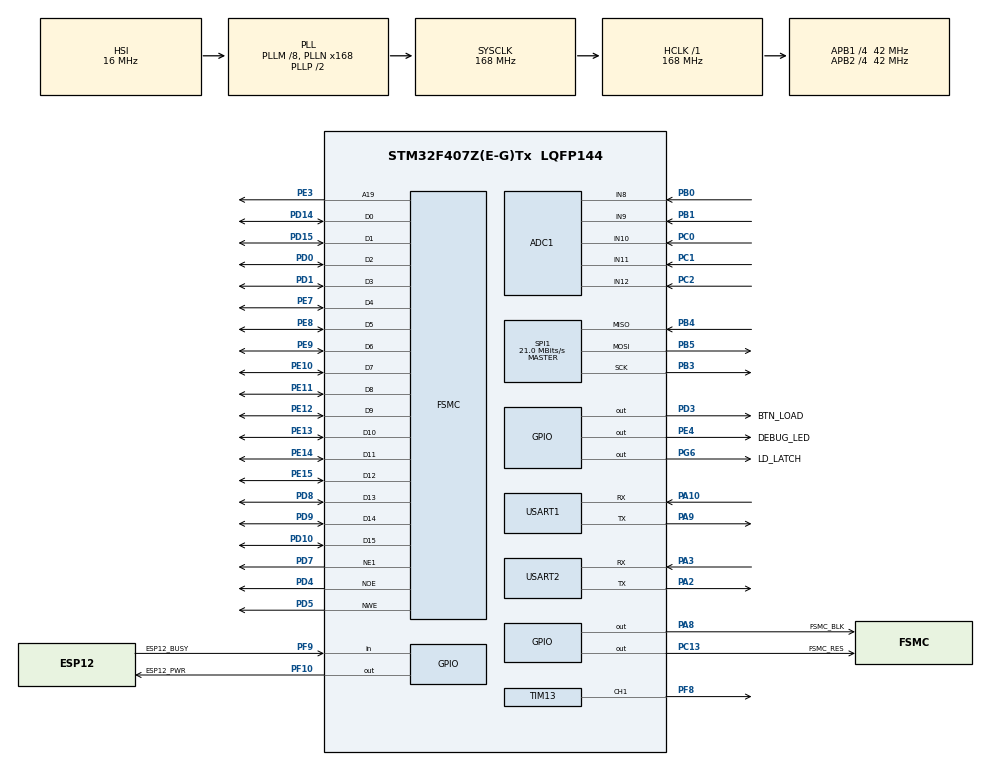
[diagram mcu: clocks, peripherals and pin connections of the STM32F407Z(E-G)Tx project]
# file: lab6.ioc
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ADC1.Channel-0\#ChannelRegularConversion=ADC_CHANNEL_8
ADC1.Channel-1\#ChannelRegularConversion=ADC_CHANNEL_9
ADC1.Channel-2\#ChannelRegularConversion=ADC_CHANNEL_10
ADC1.Channel-3\#ChannelRegularConversion=ADC_CHANNEL_11
ADC1.Channel-4\#ChannelRegularConversion=ADC_CHANNEL_12
ADC1.NbrOfConversion=5
ADC1.NbrOfConversionFlag=1
ADC1.Rank-0\#ChannelRegularConversion=1
ADC1.Rank-1\#ChannelRegularConversion=2
ADC1.Rank-2\#ChannelRegularConversion=3
ADC1.Rank-3\#ChannelRegularConversion=4
ADC1.Rank-4\#ChannelRegularConversion=5
ADC1.SamplingTime-0\#ChannelRegularConversion=ADC_SAMPLETIME_3CYCLES
ADC1.SamplingTime-1\#ChannelRegularConversion=ADC_SAMPLETIME_3CYCLES
ADC1.SamplingTime-2\#ChannelRegularConversion=ADC_SAMPLETIME_3CYCLES
ADC1.SamplingTime-3\#ChannelRegularConversion=ADC_SAMPLETIME_3CYCLES
ADC1.SamplingTime-4\#ChannelRegularConversion=ADC_SAMPLETIME_3CYCLES
ADC1.ScanConvMode=ENABLE
ADC1.master=1
Dma.ADC1.0.Direction=DMA_PERIPH_TO_MEMORY
Dma.ADC1.0.FIFOMode=DMA_FIFOMODE_DISABLE
Dma.ADC1.0.Instance=DMA2_Stream0
Dma.ADC1.0.MemDataAlignment=DMA_MDATAALIGN_HALFWORD
Dma.ADC1.0.MemInc=DMA_MINC_ENABLE
Dma.ADC1.0.Mode=DMA_CIRCULAR
Dma.ADC1.0.PeriphDataAlignment=DMA_PDATAALIGN_HALFWORD
Dma.ADC1.0.PeriphInc=DMA_PINC_DISABLE
Dma.ADC1.0.Priority=DMA_PRIORITY_LOW
Dma.Request0=ADC1
FSMC.AddressSetupTime1=0xf
FSMC.BusTurnAroundDuration1=0
FSMC.DataSetupTime1=60
FSMC.ExtendedAddressSetupTime1=8
FSMC.ExtendedBusTurnAroundDuration1=0
FSMC.ExtendedDataSetupTime1=9
FSMC.ExtendedMode1=FSMC_EXTENDED_MODE_ENABLE
Mcu.Family=STM32F4
Mcu.Name=STM32F407Z(E-G)Tx
Mcu.Package=LQFP144
NVIC.DMA2_Stream0_IRQn=true\:0\:0\:false\:false\:true\:false\:true
NVIC.PriorityGroup=NVIC_PRIORITYGROUP_4
NVIC.TIM2_IRQn=true\:0\:0\:false\:false\:true\:true\:true
NVIC.USART2_IRQn=true\:0\:0\:false\:false\:true\:true\:true
PA10.Mode=Asynchronous
PA10.Signal=USART1_RX
PA13.Mode=Serial_Wire
PA13.Signal=SYS_JTMS-SWDIO
PA14.Mode=Serial_Wire
PA14.Signal=SYS_JTCK-SWCLK
PA2.Mode=Asynchronous
PA2.Signal=USART2_TX
PA3.Mode=Asynchronous
PA3.Signal=USART2_RX
PA8.GPIO_Label=FSMC_BLK
PA8.Signal=GPIO_Output
PA9.Mode=Asynchronous
PA9.Signal=USART1_TX
PB0.Signal=ADCx_IN8
PB1.Signal=ADCx_IN9
PB3.Mode=Full_Duplex_Master
PB3.Signal=SPI1_SCK
PB4.Mode=Full_Duplex_Master
PB4.Signal=SPI1_MISO
PB5.Mode=Full_Duplex_Master
PB5.Signal=SPI1_MOSI
PC0.Signal=ADCx_IN10
PC1.Signal=ADCx_IN11
PC13-ANTI_TAMP.GPIO_Label=FSMC_RES
PC13-ANTI_TAMP.Signal=GPIO_Output
PC2.Signal=ADCx_IN12
PD0.Signal=FSMC_D2_DA2
PD1.Signal=FSMC_D3_DA3
PD10.Signal=FSMC_D15_DA15
PD14.Signal=FSMC_D0_DA0
PD15.Signal=FSMC_D1_DA1
PD3.GPIO_Label=BTN_LOAD
PD3.Signal=GPIO_Output
PD4.Signal=FSMC_NOE
PD5.Signal=FSMC_NWE
PD7.Mode=NorPsramChipSelect1_1
PD7.Signal=FSMC_NE1
PD8.Signal=FSMC_D13_DA13
PD9.Signal=FSMC_D14_DA14
PE10.Signal=FSMC_D7_DA7
PE11.Signal=FSMC_D8_DA8
PE12.Signal=FSMC_D9_DA9
PE13.Signal=FSMC_D10_DA10
PE14.Signal=FSMC_D11_DA11
PE15.Signal=FSMC_D12_DA12
PE3.Signal=FSMC_A19
PE4.GPIO_Label=DEBUG_LED
PE4.Signal=GPIO_Output
PE7.Signal=FSMC_D4_DA4
PE8.Signal=FSMC_D5_DA5
PE9.Signal=FSMC_D6_DA6
PF10.GPIO_Label=ESP12_PWR
PF10.Signal=GPIO_Output
PF8.Signal=S_TIM13_CH1
PF9.GPIO_Label=ESP12_BUSY
PF9.Signal=GPIO_Input
PG6.GPIO_Label=LD_LATCH
PG6.Signal=GPIO_Output
PH0-OSC_IN.Mode=HSE-External-Oscillator
PH0-OSC_IN.Signal=RCC_OSC_IN
PH1-OSC_OUT.Mode=HSE-External-Oscillator
PH1-OSC_OUT.Signal=RCC_OSC_OUT
ProjectManager.HeapSize=0x200
ProjectManager.StackSize=0x400
ProjectManager.TargetToolchain=STM32CubeIDE
RCC.48MHZClocksFreq_Value=84000000
RCC.AHBFreq_Value=168000000
RCC.APB1CLKDivider=RCC_HCLK_DIV4
RCC.APB1Freq_Value=42000000
RCC.APB1TimFreq_Value=84000000
RCC.APB2CLKDivider=RCC_HCLK_DIV4
RCC.APB2Freq_Value=42000000
RCC.APB2TimFreq_Value=84000000
RCC.CortexFreq_Value=168000000
RCC.HCLKFreq_Value=168000000
RCC.HSE_VALUE=8000000
RCC.HSI_VALUE=16000000
RCC.LSE_VALUE=32768
RCC.PLLM=8
RCC.PLLN=168
RCC.SYSCLKFreq_VALUE=168000000
RCC.SYSCLKSource=RCC_SYSCLKSOURCE_PLLCLK
RCC.VCOOutputFreq_Value=336000000
SH.ADCx_IN10.0=ADC1_IN10,IN10
SH.ADCx_IN11.0=ADC1_IN11,IN11
SH.ADCx_IN12.0=ADC1_IN12,IN12
SH.ADCx_IN8.0=ADC1_IN8,IN8
SH.ADCx_IN9.0=ADC1_IN9,IN9
SH.FSMC_A19.0=FSMC_A19,A19_1
SH.FSMC_D0_DA0.0=FSMC_D0,16b-d1
SH.FSMC_D10_DA10.0=FSMC_D10,16b-d1
SH.FSMC_D11_DA11.0=FSMC_D11,16b-d1
SH.FSMC_D12_DA12.0=FSMC_D12,16b-d1
SH.FSMC_D13_DA13.0=FSMC_D13,16b-d1
SH.FSMC_D14_DA14.0=FSMC_D14,16b-d1
SH.FSMC_D15_DA15.0=FSMC_D15,16b-d1
SH.FSMC_D1_DA1.0=FSMC_D1,16b-d1
SH.FSMC_D2_DA2.0=FSMC_D2,16b-d1
SH.FSMC_D3_DA3.0=FSMC_D3,16b-d1
SH.FSMC_D4_DA4.0=FSMC_D4,16b-d1
SH.FSMC_D5_DA5.0=FSMC_D5,16b-d1
SH.FSMC_D6_DA6.0=FSMC_D6,16b-d1
SH.FSMC_D7_DA7.0=FSMC_D7,16b-d1
SH.FSMC_D8_DA8.0=FSMC_D8,16b-d1
SH.FSMC_D9_DA9.0=FSMC_D9,16b-d1
SH.FSMC_NOE.0=FSMC_NOE,Lcd1
SH.FSMC_NWE.0=FSMC_NWE,Lcd1
SH.S_TIM13_CH1.0=TIM13_CH1,PWM Generation1 CH1
SPI1.CalculateBaudRate=21.0 MBits/s
SPI1.Direction=SPI_DIRECTION_2LINES
SPI1.Mode=SPI_MODE_MASTER
SPI1.VirtualType=VM_MASTER
TIM13.Channel=TIM_CHANNEL_1
TIM13.Period=100-1
TIM13.Prescaler=840-1
TIM2.Period=100-1
TIM2.Prescaler=840-1
USART1.VirtualMode=VM_ASYNC
USART2.VirtualMode=VM_ASYNC
VP_TIM13_VS_ClockSourceINT.Mode=Enable_Timer
VP_TIM2_VS_ClockSourceINT.Mode=Internal
board=custom

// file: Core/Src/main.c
/* USER CODE BEGIN Header */
/**
  ******************************************************************************
  * @file           : main.c
  * @brief          : Main program body
  ******************************************************************************
  * @attention
  *
  * <h2><center>&copy; Copyright (c) 2024 STMicroelectronics.
  * All rights reserved.</center></h2>
  *
  * This software component is licensed by ST under BSD 3-Clause license,
  * the "License"; You may not use this file except in compliance with the
  * License. You may obtain a copy of the License at:
  *                        opensource.org/licenses/BSD-3-Clause
  *
  ******************************************************************************
  */
/* USER CODE END Header */
#include "main.h"

/* USER CODE BEGIN Includes */
#include "sensor.h"
#include "software_timer.h"
#include "uart.h"
#include "buzzer.h"
#include "lcd.h"
#include "led_7seg.h"
/* USER CODE END Includes */

ADC_HandleTypeDef hadc1;
DMA_HandleTypeDef hdma_adc1;

SPI_HandleTypeDef hspi1;

TIM_HandleTypeDef htim2;
TIM_HandleTypeDef htim13;

UART_HandleTypeDef huart1;
UART_HandleTypeDef huart2;

SRAM_HandleTypeDef hsram1;

void SystemClock_Config(void);
static void MX_GPIO_Init(void);
static void MX_DMA_Init(void);
static void MX_ADC1_Init(void);
static void MX_TIM13_Init(void);
static void MX_SPI1_Init(void);
static void MX_TIM2_Init(void);
static void MX_USART1_UART_Init(void);
static void MX_FSMC_Init(void);
static void MX_USART2_UART_Init(void);

int main(void)
{

  /* MCU Configuration--------------------------------------------------------*/

  /* Reset of all peripherals, Initializes the Flash interface and the Systick. */
  HAL_Init();

  /* Configure the system clock */
  SystemClock_Config();

  /* Initialize all configured peripherals */
  MX_GPIO_Init();
  MX_DMA_Init();
  MX_ADC1_Init();
  MX_TIM13_Init();
  MX_SPI1_Init();
  MX_TIM2_Init();
  MX_USART1_UART_Init();
  MX_FSMC_Init();
  MX_USART2_UART_Init();
  /* USER CODE BEGIN 2 */
  sensor_init();
  timer_init();
  uart_init_rs232();
  buzzer_init();
  lcd_init();
  led7_init();
  uart_init_uart2();

  set_timer_display_lcd(1);
  set_timer_one_second(3);
  set_timer_read_adc(5);
  set_timer_scan_led_7seg(7);
  set_timer_warning_humidity(9);

  lcd_Clear(BLACK);
  /* USER CODE END 2 */

  /* Infinite loop */
  while (1)
  {

    /* USER CODE BEGIN 3 */
	  if(timer_display_lcd_flag)
	  {
		  set_timer_display_lcd(50); /* 25 ms */
		  timer_display_lcd_callback();
	  }

	  if(timer_one_second_flag)
	  {
		  set_timer_one_second(1000); /* 1000 ms */
		  timer_one_second_callback();
	  }

	  if(timer_read_adc_flag)
	  {
		  set_timer_read_adc(200); /* 200 ms */
		  timer_read_adc_callback();
	  }

	  if(timer_scan_led_7seg_flag)
	  {
		  set_timer_scan_led_7seg(5); /* 10 ms */
		  timer_scan_led_7seg_callback();
	  }

	  if(timer_warning_humidity_flag)
	  {
		  set_timer_warning_humidity(1000); /* 1000 ms */
		  timer_warning_humidity_callback();
	  }
  }
  /* USER CODE END 3 */
}

void SystemClock_Config(void)
{
  RCC_OscInitTypeDef RCC_OscInitStruct = {0};
  RCC_ClkInitTypeDef RCC_ClkInitStruct = {0};

  /** Configure the main internal regulator output voltage
  */
  __HAL_RCC_PWR_CLK_ENABLE();
  __HAL_PWR_VOLTAGESCALING_CONFIG(PWR_REGULATOR_VOLTAGE_SCALE1);
  /** Initializes the RCC Oscillators according to the specified parameters
  * in the RCC_OscInitTypeDef structure.
  */
  RCC_OscInitStruct.OscillatorType = RCC_OSCILLATORTYPE_HSI;
  RCC_OscInitStruct.HSIState = RCC_HSI_ON;
  RCC_OscInitStruct.HSICalibrationValue = RCC_HSICALIBRATION_DEFAULT;
  RCC_OscInitStruct.PLL.PLLState = RCC_PLL_ON;
  RCC_OscInitStruct.PLL.PLLSource = RCC_PLLSOURCE_HSI;
  RCC_OscInitStruct.PLL.PLLM = 8;
  RCC_OscInitStruct.PLL.PLLN = 168;
  RCC_OscInitStruct.PLL.PLLP = RCC_PLLP_DIV2;
  RCC_OscInitStruct.PLL.PLLQ = 4;
  if (HAL_RCC_OscConfig(&RCC_OscInitStruct) != HAL_OK)
  {
    Error_Handler();
  }
  /** Initializes the CPU, AHB and APB buses clocks
  */
  RCC_ClkInitStruct.ClockType = RCC_CLOCKTYPE_HCLK|RCC_CLOCKTYPE_SYSCLK
                              |RCC_CLOCKTYPE_PCLK1|RCC_CLOCKTYPE_PCLK2;
  RCC_ClkInitStruct.SYSCLKSource = RCC_SYSCLKSOURCE_PLLCLK;
  RCC_ClkInitStruct.AHBCLKDivider = RCC_SYSCLK_DIV1;
  RCC_ClkInitStruct.APB1CLKDivider = RCC_HCLK_DIV4;
  RCC_ClkInitStruct.APB2CLKDivider = RCC_HCLK_DIV4;

  if (HAL_RCC_ClockConfig(&RCC_ClkInitStruct, FLASH_LATENCY_5) != HAL_OK)
  {
    Error_Handler();
  }
}

static void MX_ADC1_Init(void)
{

  ADC_ChannelConfTypeDef sConfig = {0};

  /** Configure the global features of the ADC (Clock, Resolution, Data Alignment and number of conversion)
  */
  hadc1.Instance = ADC1;
  hadc1.Init.ClockPrescaler = ADC_CLOCK_SYNC_PCLK_DIV2;
  hadc1.Init.Resolution = ADC_RESOLUTION_12B;
  hadc1.Init.ScanConvMode = ENABLE;
  hadc1.Init.ContinuousConvMode = DISABLE;
  hadc1.Init.DiscontinuousConvMode = DISABLE;
  hadc1.Init.ExternalTrigConvEdge = ADC_EXTERNALTRIGCONVEDGE_NONE;
  hadc1.Init.ExternalTrigConv = ADC_SOFTWARE_START;
  hadc1.Init.DataAlign = ADC_DATAALIGN_RIGHT;
  hadc1.Init.NbrOfConversion = 5;
  hadc1.Init.DMAContinuousRequests = DISABLE;
  hadc1.Init.EOCSelection = ADC_EOC_SINGLE_CONV;
  if (HAL_ADC_Init(&hadc1) != HAL_OK)
  {
    Error_Handler();
  }
  /** Configure for the selected ADC regular channel its corresponding rank in the sequencer and its sample time.
  */
  sConfig.Channel = ADC_CHANNEL_8;
  sConfig.Rank = 1;
  sConfig.SamplingTime = ADC_SAMPLETIME_3CYCLES;
  if (HAL_ADC_ConfigChannel(&hadc1, &sConfig) != HAL_OK)
  {
    Error_Handler();
  }
  /** Configure for the selected ADC regular channel its corresponding rank in the sequencer and its sample time.
  */
  sConfig.Channel = ADC_CHANNEL_9;
  sConfig.Rank = 2;
  if (HAL_ADC_ConfigChannel(&hadc1, &sConfig) != HAL_OK)
  {
    Error_Handler();
  }
  /** Configure for the selected ADC regular channel its corresponding rank in the sequencer and its sample time.
  */
  sConfig.Channel = ADC_CHANNEL_10;
  sConfig.Rank = 3;
  if (HAL_ADC_ConfigChannel(&hadc1, &sConfig) != HAL_OK)
  {
    Error_Handler();
  }
  /** Configure for the selected ADC regular channel its corresponding rank in the sequencer and its sample time.
  */
  sConfig.Channel = ADC_CHANNEL_11;
  sConfig.Rank = 4;
  if (HAL_ADC_ConfigChannel(&hadc1, &sConfig) != HAL_OK)
  {
    Error_Handler();
  }
  /** Configure for the selected ADC regular channel its corresponding rank in the sequencer and its sample time.
  */
  sConfig.Channel = ADC_CHANNEL_12;
  sConfig.Rank = 5;
  if (HAL_ADC_ConfigChannel(&hadc1, &sConfig) != HAL_OK)
  {
    Error_Handler();
  }

}

static void MX_SPI1_Init(void)
{

  /* SPI1 parameter configuration*/
  hspi1.Instance = SPI1;
  hspi1.Init.Mode = SPI_MODE_MASTER;
  hspi1.Init.Direction = SPI_DIRECTION_2LINES;
  hspi1.Init.DataSize = SPI_DATASIZE_8BIT;
  hspi1.Init.CLKPolarity = SPI_POLARITY_LOW;
  hspi1.Init.CLKPhase = SPI_PHASE_1EDGE;
  hspi1.Init.NSS = SPI_NSS_SOFT;
  hspi1.Init.BaudRatePrescaler = SPI_BAUDRATEPRESCALER_2;
  hspi1.Init.FirstBit = SPI_FIRSTBIT_MSB;
  hspi1.Init.TIMode = SPI_TIMODE_DISABLE;
  hspi1.Init.CRCCalculation = SPI_CRCCALCULATION_DISABLE;
  hspi1.Init.CRCPolynomial = 10;
  if (HAL_SPI_Init(&hspi1) != HAL_OK)
  {
    Error_Handler();
  }

}

static void MX_TIM2_Init(void)
{

  TIM_ClockConfigTypeDef sClockSourceConfig = {0};
  TIM_MasterConfigTypeDef sMasterConfig = {0};

  htim2.Instance = TIM2;
  htim2.Init.Prescaler = 840-1;
  htim2.Init.CounterMode = TIM_COUNTERMODE_UP;
  htim2.Init.Period = 100-1;
  htim2.Init.ClockDivision = TIM_CLOCKDIVISION_DIV1;
  htim2.Init.AutoReloadPreload = TIM_AUTORELOAD_PRELOAD_DISABLE;
  if (HAL_TIM_Base_Init(&htim2) != HAL_OK)
  {
    Error_Handler();
  }
  sClockSourceConfig.ClockSource = TIM_CLOCKSOURCE_INTERNAL;
  if (HAL_TIM_ConfigClockSource(&htim2, &sClockSourceConfig) != HAL_OK)
  {
    Error_Handler();
  }
  sMasterConfig.MasterOutputTrigger = TIM_TRGO_RESET;
  sMasterConfig.MasterSlaveMode = TIM_MASTERSLAVEMODE_DISABLE;
  if (HAL_TIMEx_MasterConfigSynchronization(&htim2, &sMasterConfig) != HAL_OK)
  {
    Error_Handler();
  }

}

static void MX_TIM13_Init(void)
{

  TIM_OC_InitTypeDef sConfigOC = {0};

  htim13.Instance = TIM13;
  htim13.Init.Prescaler = 840-1;
  htim13.Init.CounterMode = TIM_COUNTERMODE_UP;
  htim13.Init.Period = 100-1;
  htim13.Init.ClockDivision = TIM_CLOCKDIVISION_DIV1;
  htim13.Init.AutoReloadPreload = TIM_AUTORELOAD_PRELOAD_DISABLE;
  if (HAL_TIM_Base_Init(&htim13) != HAL_OK)
  {
    Error_Handler();
  }
  if (HAL_TIM_PWM_Init(&htim13) != HAL_OK)
  {
    Error_Handler();
  }
  sConfigOC.OCMode = TIM_OCMODE_PWM1;
  sConfigOC.Pulse = 0;
  sConfigOC.OCPolarity = TIM_OCPOLARITY_HIGH;
  sConfigOC.OCFastMode = TIM_OCFAST_DISABLE;
  if (HAL_TIM_PWM_ConfigChannel(&htim13, &sConfigOC, TIM_CHANNEL_1) != HAL_OK)
  {
    Error_Handler();
  }
  HAL_TIM_MspPostInit(&htim13);

}

static void MX_USART1_UART_Init(void)
{

  huart1.Instance = USART1;
  huart1.Init.BaudRate = 115200;
  huart1.Init.WordLength = UART_WORDLENGTH_8B;
  huart1.Init.StopBits = UART_STOPBITS_1;
  huart1.Init.Parity = UART_PARITY_NONE;
  huart1.Init.Mode = UART_MODE_TX_RX;
  huart1.Init.HwFlowCtl = UART_HWCONTROL_NONE;
  huart1.Init.OverSampling = UART_OVERSAMPLING_16;
  if (HAL_UART_Init(&huart1) != HAL_OK)
  {
    Error_Handler();
  }

}

static void MX_USART2_UART_Init(void)
{

  huart2.Instance = USART2;
  huart2.Init.BaudRate = 115200;
  huart2.Init.WordLength = UART_WORDLENGTH_8B;
  huart2.Init.StopBits = UART_STOPBITS_1;
  huart2.Init.Parity = UART_PARITY_NONE;
  huart2.Init.Mode = UART_MODE_TX_RX;
  huart2.Init.HwFlowCtl = UART_HWCONTROL_NONE;
  huart2.Init.OverSampling = UART_OVERSAMPLING_16;
  if (HAL_UART_Init(&huart2) != HAL_OK)
  {
    Error_Handler();
  }

}

static void MX_DMA_Init(void)
{

  /* DMA controller clock enable */
  __HAL_RCC_DMA2_CLK_ENABLE();

  /* DMA interrupt init */
  /* DMA2_Stream0_IRQn interrupt configuration */
  HAL_NVIC_SetPriority(DMA2_Stream0_IRQn, 0, 0);
  HAL_NVIC_EnableIRQ(DMA2_Stream0_IRQn);

}

static void MX_GPIO_Init(void)
{
  GPIO_InitTypeDef GPIO_InitStruct = {0};

  /* GPIO Ports Clock Enable */
  __HAL_RCC_GPIOE_CLK_ENABLE();
  __HAL_RCC_GPIOC_CLK_ENABLE();
  __HAL_RCC_GPIOF_CLK_ENABLE();
  __HAL_RCC_GPIOH_CLK_ENABLE();
  __HAL_RCC_GPIOA_CLK_ENABLE();
  __HAL_RCC_GPIOB_CLK_ENABLE();
  __HAL_RCC_GPIOD_CLK_ENABLE();
  __HAL_RCC_GPIOG_CLK_ENABLE();

  /*Configure GPIO pin Output Level */
  HAL_GPIO_WritePin(DEBUG_LED_GPIO_Port, DEBUG_LED_Pin, GPIO_PIN_RESET);

  /*Configure GPIO pin Output Level */
  HAL_GPIO_WritePin(FSMC_RES_GPIO_Port, FSMC_RES_Pin, GPIO_PIN_RESET);

  /*Configure GPIO pin Output Level */
  HAL_GPIO_WritePin(ESP12_PWR_GPIO_Port, ESP12_PWR_Pin, GPIO_PIN_RESET);

  /*Configure GPIO pin Output Level */
  HAL_GPIO_WritePin(LD_LATCH_GPIO_Port, LD_LATCH_Pin, GPIO_PIN_RESET);

  /*Configure GPIO pin Output Level */
  HAL_GPIO_WritePin(FSMC_BLK_GPIO_Port, FSMC_BLK_Pin, GPIO_PIN_RESET);

  /*Configure GPIO pin Output Level */
  HAL_GPIO_WritePin(BTN_LOAD_GPIO_Port, BTN_LOAD_Pin, GPIO_PIN_RESET);

  /*Configure GPIO pin : DEBUG_LED_Pin */
  GPIO_InitStruct.Pin = DEBUG_LED_Pin;
  GPIO_InitStruct.Mode = GPIO_MODE_OUTPUT_PP;
  GPIO_InitStruct.Pull = GPIO_NOPULL;
  GPIO_InitStruct.Speed = GPIO_SPEED_FREQ_LOW;
  HAL_GPIO_Init(DEBUG_LED_GPIO_Port, &GPIO_InitStruct);

  /*Configure GPIO pin : FSMC_RES_Pin */
  GPIO_InitStruct.Pin = FSMC_RES_Pin;
  GPIO_InitStruct.Mode = GPIO_MODE_OUTPUT_PP;
  GPIO_InitStruct.Pull = GPIO_NOPULL;
  GPIO_InitStruct.Speed = GPIO_SPEED_FREQ_LOW;
  HAL_GPIO_Init(FSMC_RES_GPIO_Port, &GPIO_InitStruct);

  /*Configure GPIO pin : ESP12_BUSY_Pin */
  GPIO_InitStruct.Pin = ESP12_BUSY_Pin;
  GPIO_InitStruct.Mode = GPIO_MODE_INPUT;
  GPIO_InitStruct.Pull = GPIO_NOPULL;
  HAL_GPIO_Init(ESP12_BUSY_GPIO_Port, &GPIO_InitStruct);

  /*Configure GPIO pin : ESP12_PWR_Pin */
  GPIO_InitStruct.Pin = ESP12_PWR_Pin;
  GPIO_InitStruct.Mode = GPIO_MODE_OUTPUT_PP;
  GPIO_InitStruct.Pull = GPIO_NOPULL;
  GPIO_InitStruct.Speed = GPIO_SPEED_FREQ_LOW;
  HAL_GPIO_Init(ESP12_PWR_GPIO_Port, &GPIO_InitStruct);

  /*Configure GPIO pin : LD_LATCH_Pin */
  GPIO_InitStruct.Pin = LD_LATCH_Pin;
  GPIO_InitStruct.Mode = GPIO_MODE_OUTPUT_PP;
  GPIO_InitStruct.Pull = GPIO_NOPULL;
  GPIO_InitStruct.Speed = GPIO_SPEED_FREQ_LOW;
  HAL_GPIO_Init(LD_LATCH_GPIO_Port, &GPIO_InitStruct);

  /*Configure GPIO pin : FSMC_BLK_Pin */
  GPIO_InitStruct.Pin = FSMC_BLK_Pin;
  GPIO_InitStruct.Mode = GPIO_MODE_OUTPUT_PP;
  GPIO_InitStruct.Pull = GPIO_NOPULL;
  GPIO_InitStruct.Speed = GPIO_SPEED_FREQ_LOW;
  HAL_GPIO_Init(FSMC_BLK_GPIO_Port, &GPIO_InitStruct);

  /*Configure GPIO pin : BTN_LOAD_Pin */
  GPIO_InitStruct.Pin = BTN_LOAD_Pin;
  GPIO_InitStruct.Mode = GPIO_MODE_OUTPUT_PP;
  GPIO_InitStruct.Pull = GPIO_NOPULL;
  GPIO_InitStruct.Speed = GPIO_SPEED_FREQ_LOW;
  HAL_GPIO_Init(BTN_LOAD_GPIO_Port, &GPIO_InitStruct);

}

/* FSMC initialization function */
static void MX_FSMC_Init(void)
{

  FSMC_NORSRAM_TimingTypeDef Timing = {0};
  FSMC_NORSRAM_TimingTypeDef ExtTiming = {0};

  /** Perform the SRAM1 memory initialization sequence
  */
  hsram1.Instance = FSMC_NORSRAM_DEVICE;
  hsram1.Extended = FSMC_NORSRAM_EXTENDED_DEVICE;
  /* hsram1.Init */
  hsram1.Init.NSBank = FSMC_NORSRAM_BANK1;
  hsram1.Init.DataAddressMux = FSMC_DATA_ADDRESS_MUX_DISABLE;
  hsram1.Init.MemoryType = FSMC_MEMORY_TYPE_SRAM;
  hsram1.Init.MemoryDataWidth = FSMC_NORSRAM_MEM_BUS_WIDTH_16;
  hsram1.Init.BurstAccessMode = FSMC_BURST_ACCESS_MODE_DISABLE;
  hsram1.Init.WaitSignalPolarity = FSMC_WAIT_SIGNAL_POLARITY_LOW;
  hsram1.Init.WrapMode = FSMC_WRAP_MODE_DISABLE;
  hsram1.Init.WaitSignalActive = FSMC_WAIT_TIMING_BEFORE_WS;
  hsram1.Init.WriteOperation = FSMC_WRITE_OPERATION_ENABLE;
  hsram1.Init.WaitSignal = FSMC_WAIT_SIGNAL_DISABLE;
  hsram1.Init.ExtendedMode = FSMC_EXTENDED_MODE_ENABLE;
  hsram1.Init.AsynchronousWait = FSMC_ASYNCHRONOUS_WAIT_DISABLE;
  hsram1.Init.WriteBurst = FSMC_WRITE_BURST_DISABLE;
  hsram1.Init.PageSize = FSMC_PAGE_SIZE_NONE;
  /* Timing */
  Timing.AddressSetupTime = 0xf;
  Timing.AddressHoldTime = 15;
  Timing.DataSetupTime = 60;
  Timing.BusTurnAroundDuration = 0;
  Timing.CLKDivision = 16;
  Timing.DataLatency = 17;
  Timing.AccessMode = FSMC_ACCESS_MODE_A;
  /* ExtTiming */
  ExtTiming.AddressSetupTime = 8;
  ExtTiming.AddressHoldTime = 15;
  ExtTiming.DataSetupTime = 9;
  ExtTiming.BusTurnAroundDuration = 0;
  ExtTiming.CLKDivision = 16;
  ExtTiming.DataLatency = 17;
  ExtTiming.AccessMode = FSMC_ACCESS_MODE_A;

  if (HAL_SRAM_Init(&hsram1, &Timing, &ExtTiming) != HAL_OK)
  {
    Error_Handler( );
  }

}

/* USER CODE BEGIN 4 */
void HAL_TIM_PeriodElapsedCallback(TIM_HandleTypeDef *htim){
	if(htim->Instance == TIM2){
		timer_run();
	}
}
/* USER CODE END 4 */

void Error_Handler(void)
{
  __disable_irq();
  while (1)
  {
  }
}

/************************ (C) COPYRIGHT STMicroelectronics *****END OF FILE****/
